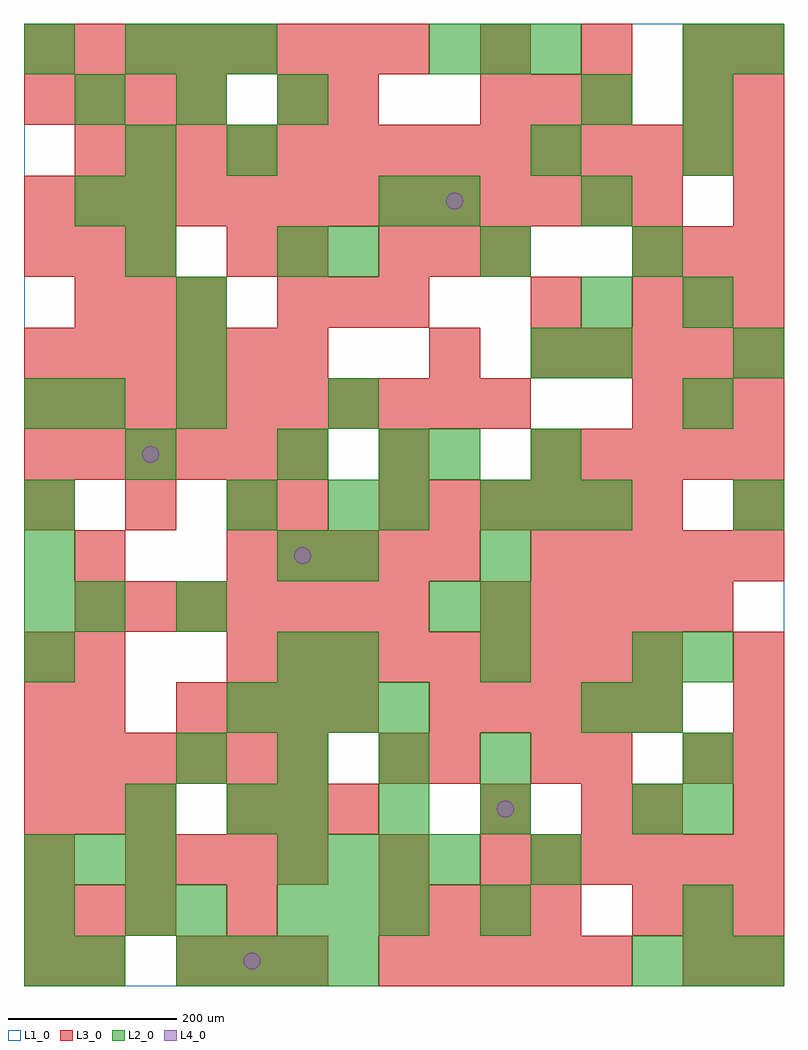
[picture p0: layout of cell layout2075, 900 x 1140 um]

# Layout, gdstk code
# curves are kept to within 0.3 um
import gdstk
lib = gdstk.Library(unit=1e-6, precision=1e-09)
def R(c, l, rs):  # rectangles x0, y0, x1, y1
    for r in rs: c.add(gdstk.rectangle(r[:2], r[2:], *l))
def A(c, l, x, y, w, h, nx, ny, dx, dy):  # array of equal rectangles
    R(c, l, [(x+i*dx, y+j*dy, x+i*dx+w, y+j*dy+h) for i in range(nx) for j in range(ny)])
def P(c, l, *ps):  # polygons
    for p in ps: c.add(gdstk.Polygon(p, *l))
L1_0 = (1, 0)
L2_0 = (2, 0)
L3_0 = (3, 0)
L4_0 = (4, 0)

layout2075 = lib.new_cell('layout2075')
R(layout2075, L1_0, [(0,0,900,1140)])
A(layout2075, L2_0, 180, 0, 60, 60, 4, 1, 60, 0)
A(layout2075, L2_0, 720, 0, 60, 60, 3, 1, 60, 0)
A(layout2075, L2_0, 300, 60, 60, 60, 3, 1, 60, 0)
A(layout2075, L2_0, 0, 120, 60, 60, 3, 1, 60, 0)
A(layout2075, L2_0, 300, 120, 60, 60, 4, 1, 60, 0)
A(layout2075, L2_0, 300, 180, 60, 60, 3, 1, 120, 0)
A(layout2075, L2_0, 180, 240, 60, 60, 4, 1, 120, 0)
A(layout2075, L2_0, 240, 300, 60, 60, 4, 1, 60, 0)
A(layout2075, L2_0, 0, 360, 60, 60, 1, 4, 0, 60)
A(layout2075, L2_0, 300, 360, 60, 60, 1, 3, 0, 120)
A(layout2075, L2_0, 360, 360, 60, 60, 3, 2, 180, 480)
A(layout2075, L2_0, 60, 420, 60, 60, 1, 3, 0, 240)
A(layout2075, L2_0, 540, 540, 60, 60, 3, 1, 60, 0)
A(layout2075, L2_0, 180, 660, 60, 60, 1, 3, 0, 60)
A(layout2075, L2_0, 660, 780, 60, 60, 1, 3, 0, 120)
A(layout2075, L2_0, 120, 840, 60, 60, 1, 3, 0, 60)
A(layout2075, L2_0, 780, 960, 60, 60, 1, 3, 0, 60)
A(layout2075, L2_0, 60, 1020, 60, 60, 3, 1, 120, 0)
A(layout2075, L2_0, 120, 1080, 60, 60, 3, 1, 60, 0)
A(layout2075, L2_0, 480, 1080, 60, 60, 3, 1, 60, 0)
R(layout2075, L2_0, [(0,0,60,60), (60,0,120,60), (0,60,60,120), (120,60,180,120), (180,60,240,120), (540,60,600,120), (780,60,840,120), (600,120,660,180), (120,180,180,240), (240,180,300,240), (720,180,780,240), (780,180,840,240), (780,240,840,300), (660,300,720,360), (720,300,780,360), (780,360,840,420), (180,420,240,480), (480,420,540,480), (540,420,600,480), (360,480,420,540), (540,480,600,540), (240,540,300,600), (360,540,420,600), (420,540,480,600), (840,540,900,600), (120,600,180,660), (420,600,480,660), (480,600,540,660), (600,600,660,660), (0,660,60,720), (360,660,420,720), (780,660,840,720), (600,720,660,780), (660,720,720,780), (840,720,900,780), (780,780,840,840), (300,840,360,900), (420,900,480,960), (480,900,540,960), (240,960,300,1020), (600,960,660,1020), (0,1080,60,1140), (840,1080,900,1140)])
A(layout2075, L3_0, 180, 0, 60, 60, 3, 1, 60, 0)
A(layout2075, L3_0, 420, 0, 60, 60, 5, 1, 60, 0)
A(layout2075, L3_0, 0, 60, 60, 60, 3, 2, 60, 120)
A(layout2075, L3_0, 420, 60, 60, 60, 4, 1, 60, 0)
A(layout2075, L3_0, 720, 60, 60, 60, 3, 2, 60, 600)
A(layout2075, L3_0, 120, 120, 60, 60, 4, 1, 60, 0)
A(layout2075, L3_0, 540, 120, 60, 60, 6, 1, 60, 0)
A(layout2075, L3_0, 240, 180, 60, 60, 3, 1, 60, 0)
A(layout2075, L3_0, 840, 180, 60, 60, 1, 4, 0, 60)
A(layout2075, L3_0, 0, 240, 60, 60, 6, 2, 60, 360)
A(layout2075, L3_0, 180, 300, 60, 60, 4, 1, 60, 0)
A(layout2075, L3_0, 480, 300, 60, 60, 5, 1, 60, 0)
A(layout2075, L3_0, 240, 360, 60, 60, 9, 1, 60, 0)
A(layout2075, L3_0, 60, 420, 60, 60, 7, 1, 60, 0)
A(layout2075, L3_0, 540, 420, 60, 60, 5, 1, 60, 0)
A(layout2075, L3_0, 240, 480, 60, 60, 5, 1, 60, 0)
A(layout2075, L3_0, 600, 480, 60, 60, 5, 3, 60, 120)
A(layout2075, L3_0, 0, 540, 60, 60, 3, 1, 120, 0)
A(layout2075, L3_0, 420, 540, 60, 60, 6, 1, 60, 0)
A(layout2075, L3_0, 0, 660, 60, 60, 10, 1, 60, 0)
A(layout2075, L3_0, 0, 720, 60, 60, 6, 1, 60, 0)
A(layout2075, L3_0, 60, 780, 60, 60, 3, 1, 60, 0)
A(layout2075, L3_0, 300, 780, 60, 60, 3, 1, 60, 0)
A(layout2075, L3_0, 720, 780, 60, 60, 3, 2, 60, 60)
A(layout2075, L3_0, 0, 840, 60, 60, 3, 1, 60, 0)
A(layout2075, L3_0, 420, 840, 60, 60, 3, 1, 60, 0)
A(layout2075, L3_0, 0, 900, 60, 60, 13, 1, 60, 0)
A(layout2075, L3_0, 60, 960, 60, 60, 14, 1, 60, 0)
A(layout2075, L3_0, 0, 1020, 60, 60, 4, 1, 60, 0)
A(layout2075, L3_0, 540, 1020, 60, 60, 3, 1, 60, 0)
A(layout2075, L3_0, 0, 1080, 60, 60, 8, 1, 60, 0)
A(layout2075, L3_0, 540, 1080, 60, 60, 3, 1, 120, 0)
R(layout2075, L3_0, [(0,0,60,60), (60,0,120,60), (780,0,840,60), (840,0,900,60), (240,60,300,120), (0,120,60,180), (420,120,480,180), (540,180,600,240), (660,180,720,240), (720,180,780,240), (420,240,480,300), (480,240,540,300), (600,240,660,300), (660,240,720,300), (780,240,840,300), (0,300,60,360), (60,300,120,360), (0,360,60,420), (60,360,120,420), (60,480,120,540), (300,540,360,600), (840,540,900,600), (420,600,480,660), (480,720,540,780), (600,780,660,840), (240,840,300,900), (300,840,360,900), (840,900,900,960), (300,1020,360,1080), (360,1020,420,1080), (780,1020,840,1080), (840,1020,900,1080), (840,1080,900,1140)])
P(layout2075, L4_0, [(160,630),(159.239,633.827),(157.071,637.071),(153.827,639.239),(150,640),(146.173,639.239),(142.929,637.071),(140.761,633.827),(140,630),(140.761,626.173),(142.929,622.929),(146.173,620.761),(150,620),(153.827,620.761),(157.071,622.929),(159.239,626.173)],
  [(280,30),(279.239,33.827),(277.071,37.071),(273.827,39.239),(270,40),(266.173,39.239),(262.929,37.071),(260.761,33.827),(260,30),(260.761,26.173),(262.929,22.929),(266.173,20.761),(270,20),(273.827,20.761),(277.071,22.929),(279.239,26.173)],
  [(340,510),(339.239,513.827),(337.071,517.071),(333.827,519.239),(330,520),(326.173,519.239),(322.929,517.071),(320.761,513.827),(320,510),(320.761,506.173),(322.929,502.929),(326.173,500.761),(330,500),(333.827,500.761),(337.071,502.929),(339.239,506.173)],
  [(520,930),(519.239,933.827),(517.071,937.071),(513.827,939.239),(510,940),(506.173,939.239),(502.929,937.071),(500.761,933.827),(500,930),(500.761,926.173),(502.929,922.929),(506.173,920.761),(510,920),(513.827,920.761),(517.071,922.929),(519.239,926.173)],
  [(580,210),(579.239,213.827),(577.071,217.071),(573.827,219.239),(570,220),(566.173,219.239),(562.929,217.071),(560.761,213.827),(560,210),(560.761,206.173),(562.929,202.929),(566.173,200.761),(570,200),(573.827,200.761),(577.071,202.929),(579.239,206.173)])

lib.write_gds('layout2075.gds')
